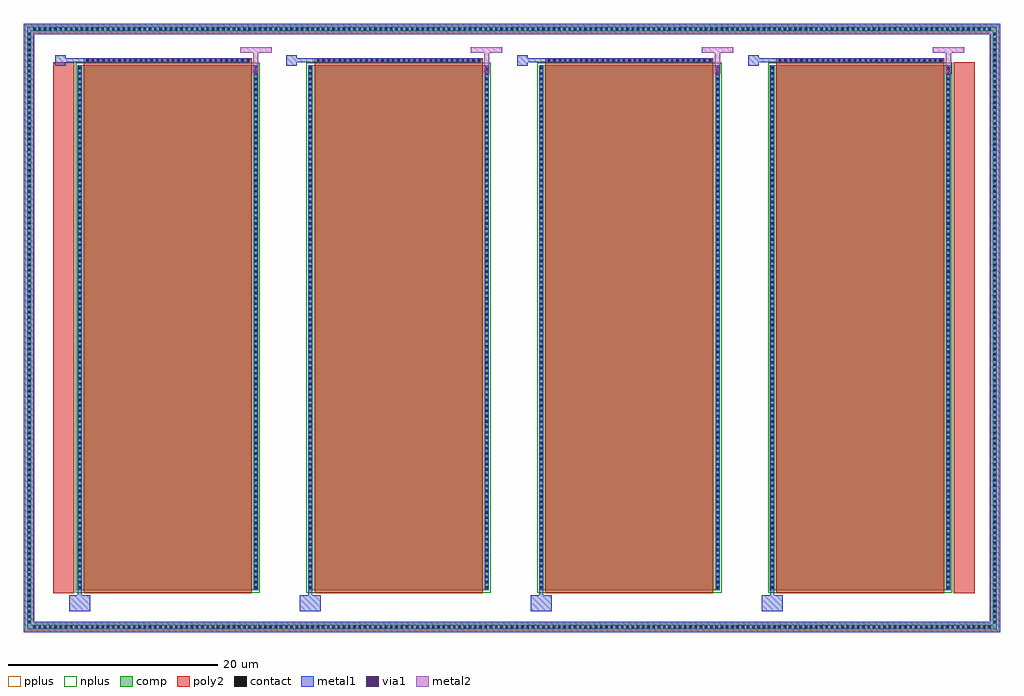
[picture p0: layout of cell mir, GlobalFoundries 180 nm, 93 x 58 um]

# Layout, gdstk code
import gdstk
lib = gdstk.Library(unit=1e-6, precision=1e-09)
def R(c, l, rs):  # rectangles x0, y0, x1, y1
    for r in rs: c.add(gdstk.rectangle(r[:2], r[2:], *l))
def A(c, l, x, y, w, h, nx, ny, dx, dy):  # array of equal rectangles
    R(c, l, [(x+i*dx, y+j*dy, x+i*dx+w, y+j*dy+h) for i in range(nx) for j in range(ny)])
comp = (22, 0)
poly2 = (30, 0)
pplus = (31, 0)
nplus = (32, 0)
contact = (33, 0)
metal1 = (34, 0)
via1 = (35, 0)
metal2 = (36, 0)

nfet__2 = lib.new_cell('nfet__2')
R(nfet__2, comp, [(-0.42,0,0,50), (0,0,16.38,50), (16.38,0,16.8,50)])
R(nfet__2, poly2, [(0.19,-0.3,16.19,50.3), (0.19,50.3,16.19,50.66)])
R(nfet__2, nplus, [(-0.59,-0.24,16.97,50.24)])
A(nfet__2, contact, -0.32, 0.155, 0.22, 0.22, 1, 98, 0, 0.51)
A(nfet__2, contact, 16.48, 0.155, 0.22, 0.22, 1, 98, 0, 0.51)
A(nfet__2, contact, 0.43, 50.37, 0.22, 0.22, 31, 1, 0.51, 0)
R(nfet__2, metal1, [(-0.4,0.075,-0.02,49.925), (16.4,0.075,16.78,49.925), (0.35,50.29,16.03,50.67)])

m3a = lib.new_cell('m3a')
R(m3a, metal1, [(-1.21,-2.48,0.79,-0.98), (-0.4,-2.48,-0.02,-0.385), (16.34,48.745,16.84,49.245), (-2.5,49.5,-1.5,50.5), (-2,49.81,0.36,50.19), (0.35,49.81,16.03,50.19)])
R(m3a, via1, [(16.46,48.865,16.72,49.125)])
R(m3a, metal2, [(16.34,48.745,16.84,51.25), (15.09,50.75,18.09,51.25)])
m3a.add(gdstk.Reference(nfet__2, (0,-0.48)))

m4a = lib.new_cell('m4a')
R(m4a, metal1, [(-1.21,-2.48,0.79,-0.98), (-0.4,-2.48,-0.02,-0.385), (16.34,48.745,16.84,49.245), (-2.5,49.5,-1.5,50.5), (-2,49.81,0.36,50.19), (0.35,49.81,16.03,50.19)])
R(m4a, via1, [(16.46,48.865,16.72,49.125)])
R(m4a, metal2, [(16.34,48.745,16.84,51.25), (15.09,50.75,18.09,51.25)])
m4a.add(gdstk.Reference(nfet__2, (0,-0.48)))

m4b = lib.new_cell('m4b')
R(m4b, metal1, [(-1.21,-2.48,0.79,-0.98), (-0.4,-2.48,-0.02,-0.385), (16.34,48.745,16.84,49.245), (-2.5,49.5,-1.5,50.5), (-2,49.81,0.36,50.19), (0.35,49.81,16.03,50.19)])
R(m4b, via1, [(16.46,48.865,16.72,49.125)])
R(m4b, metal2, [(16.34,48.745,16.84,51.25), (15.09,50.75,18.09,51.25)])
m4b.add(gdstk.Reference(nfet__2, (0,-0.48)))

m3b = lib.new_cell('m3b')
R(m3b, metal1, [(-1.21,-2.48,0.79,-0.98), (-0.4,-2.48,-0.02,-0.385), (16.34,48.745,16.84,49.245), (-2.5,49.5,-1.5,50.5), (-2,49.81,0.36,50.19), (0.35,49.81,16.03,50.19)])
R(m3b, via1, [(16.46,48.865,16.72,49.125)])
R(m3b, metal2, [(16.34,48.745,16.84,51.25), (15.09,50.75,18.09,51.25)])
m3b.add(gdstk.Reference(nfet__2, (0,-0.48)))

mir = lib.new_cell('mir')
R(mir, comp, [(-2.21,-4.21,-1.79,53.21), (-1.79,-4.21,89.79,-3.79), (89.79,-4.21,90.21,53.21), (-1.79,52.79,89.79,53.21)])
R(mir, poly2, [(0.28,-0.78,2.28,49.82), (86.1,-0.78,88.1,49.82)])
R(mir, pplus, [(-2.37,-4.37,90.37,-3.63), (-2.37,-4.37,-1.63,53.37), (89.63,-4.37,90.37,53.37), (-2.37,52.63,90.37,53.37)])
A(mir, contact, -1.61, -4.11, 0.22, 0.22, 183, 2, 0.5, 57)
A(mir, contact, -2.11, -3.61, 0.22, 0.22, 1, 113, 0, 0.5)
A(mir, contact, 89.89, -3.61, 0.22, 0.22, 1, 113, 0, 0.5)
R(mir, metal1, [(-2.5,-4.5,-1.5,53.5), (-1.5,-4.5,89.5,-3.5), (89.5,-4.5,90.5,53.5), (-1.5,52.5,89.5,53.5)])
mir.add(gdstk.Reference(m3a, (3,0)))
mir.add(gdstk.Reference(m4a, (25,0)))
mir.add(gdstk.Reference(m4b, (47,0)))
mir.add(gdstk.Reference(m3b, (69,0)))

lib.write_gds('mir.gds')
